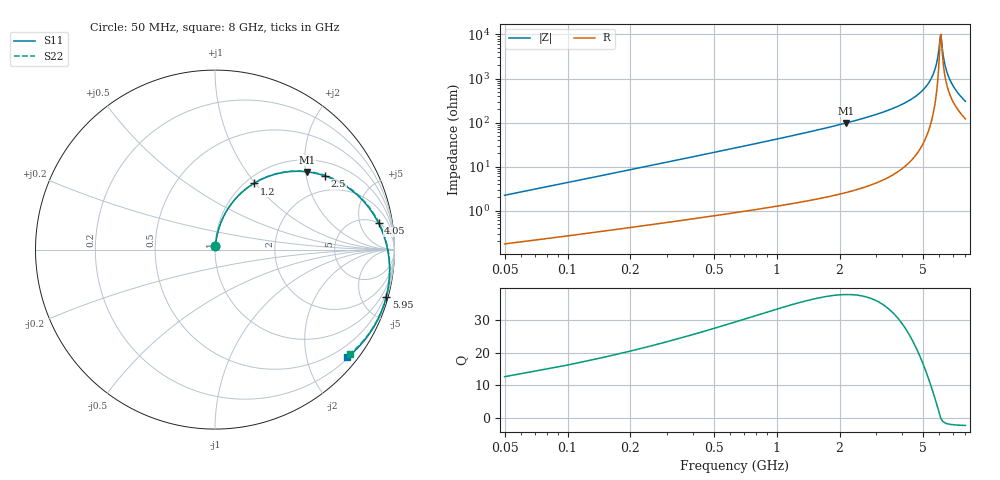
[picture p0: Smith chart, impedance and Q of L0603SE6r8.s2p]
!	AVX	Thin	Film	Operation	Date:	2004
!	Description:	"Series,"	Thin	"Film,"	"LGA,"	RF	Inductors
!	Part	Number:	L06036r8nH
!	50	MHz	-	8	GHz
!	Serial	Measurements
#	mhz	S	db	R	50
!	S11	S11	S21	S21	S12	S12	S22	S22
!	dB	Phase	dB	Phase	dB	Phase	dB	Phase
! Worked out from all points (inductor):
!   160 points, 50 MHz to 8 GHz, reference 50 ohm
!   read as one part in series: L = 6.9 nH near 50 MHz
!   highest Q = 37.9 at 2.15 GHz (marker M1), where L = 7.22 nH
!   self-resonance near 6.05 GHz
!   S11 on the Smith chart (normalised r, x): 50 MHz: 1.00, +0.04; 1.2 GHz: 1.09, +0.98; 2.5 GHz: 1.43, +2.58; 4.05 GHz: 5, +10; 5.95 GHz: 0.27, -7.29; 8 GHz: 0.22, -2.79
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50  -33.53 83.9  -0.02 -1.3  -0.02 -1.3  -33.53 83.9
100  -27.77 83.7  -0.03 -2.6  -0.03 -2.6  -27.77 83.7
150  -24.38 82.9  -0.05 -3.9  -0.05 -3.9  -24.38 82.9
350  -17.29 78.7  -0.13 -8.8  -0.13 -8.8  -17.29 78.7
700  -11.58 70.8  -0.40 -17.2  -0.40 -17.2  -11.58 70.8
1200  -7.39 59.6  -1.00 -28.6  -1.00 -28.6  -7.39 59.7
1400  -6.27 55.3  -1.31 -32.9  -1.31 -32.9  -6.27 55.5
2150  -3.47 40.3  -2.81 -48.0  -2.81 -48.0  -3.47 40.5
2500  -2.64 33.8  -3.68 -54.4  -3.68 -54.4  -2.64 34.2
2700  -2.26 30.3  -4.22 -57.9  -4.22 -57.9  -2.26 30.7
4050  -0.69 9.1  -9.07 -78.5  -9.07 -78.5  -0.69 9.7
4800  -0.31 -1.1  -13.31 -87.8  -13.31 -87.8  -0.31 -0.4
5350  -0.16 -8.2  -18.30 -92.9  -18.30 -92.9  -0.16 -7.4
5700  -0.11 -12.6  -23.88 -93.1  -23.88 -93.1  -0.11 -11.7
5950  -0.09 -15.6  -32.12 -81.9  -32.12 -81.9  -0.09 -14.6
6050  -0.08 -16.8  -38.52 -51.6  -38.52 -51.6  -0.09 -15.8
6100  -0.08 -17.4  -40.27 -10.6  -40.27 -10.6  -0.08 -16.4
6250  -0.09 -19.2  -31.56 28.2  -31.56 28.2  -0.09 -18.1
6350  -0.09 -20.4  -27.68 34.9  -27.68 34.9  -0.09 -19.3
6700  -0.12 -24.4  -20.52 38.5  -20.52 38.5  -0.12 -23.3
7250  -0.22 -30.7  -15.13 34.9  -15.13 34.9  -0.22 -29.4
8000  -0.44 -39.2  -11.04 27.8  -11.04 27.8  -0.44 -37.6
